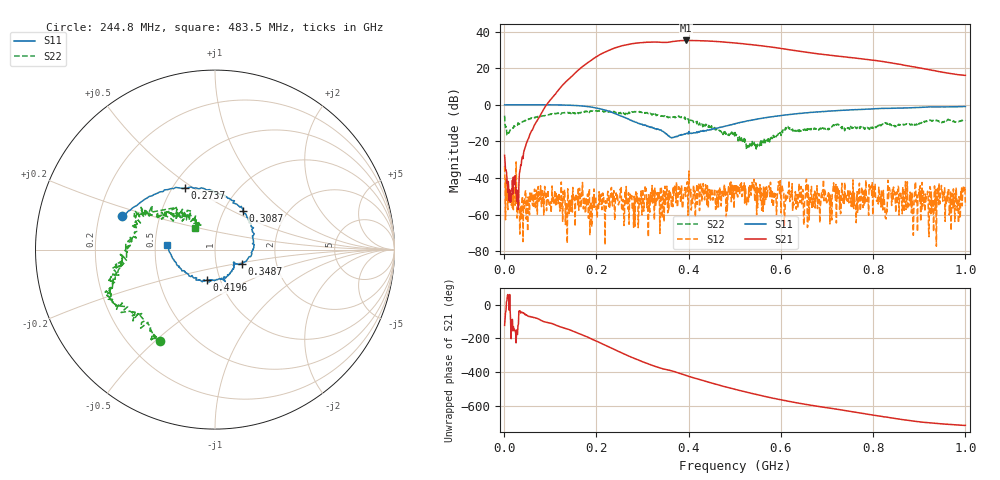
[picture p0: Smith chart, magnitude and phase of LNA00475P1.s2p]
! Created with skrf 1.9.0 (http://scikit-rf.org).
# Hz S RI R 50.0
!freq ReS11 ImS11 ReS21 ImS21 ReS12 ImS12 ReS22 ImS22
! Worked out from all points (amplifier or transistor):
!   1001 points, 1 MHz to 1 GHz, reference 50 ohm
!   highest |S21| = 35.2 dB at 394.6 MHz (marker M1)
!   |S21| within 3 dB of that: 254.5 MHz to 560.5 MHz (306.1 MHz wide, 75.1 % of centre)
!   unconditionally stable (mu >= 1): 175.1 MHz to 194.5 MHz; 251.8 MHz to 400.3 MHz; 400.9 MHz to end of sweep (the widest 3 of 40)
!   at 166.8 MHz: K = 2.19, MAG = 32.0 dB, |S12| = -56.1 dB
!   at 500.5 MHz: K = 1.63, MAG = 34.4 dB, |S12| = -44.2 dB
!   at 1 GHz: K = 6.92, MAG = 24.1 dB, |S12| = -55.0 dB
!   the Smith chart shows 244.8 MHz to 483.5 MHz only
!   S11 on the Smith chart (normalised r, x): 244.8 MHz: 0.30, +0.16; 273.7 MHz: 0.58, +0.46; 308.7 MHz: 1.23, +0.56; 348.7 MHz: 1.34, -0.22; 419.6 MHz: 0.86, -0.30; 483.5 MHz: 0.58, +0.03
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1000000  0.9984 0.00599  -0.0226 -0.035  -0.0169 0.0123  0.3453 0.3641
1.08892e8  0.5137 -0.8547  -0.8603 -1.63  0.000309 0.00274  0.4462 -0.3651
1.67833e8  -0.2488 -0.8963  -10.59 -0.5119  -0.00436 0.00104  0.0627 -0.6066
2.09791e8  -0.6743 -0.3612  -16.22 18.03  0.00305 -0.00104  -0.182 -0.6458
2.26774e8  -0.6635 -0.0743  -10.38 28.86  0.00091 0.00142  -0.2518 -0.5826
2.44756e8  -0.5155 0.1849  2.001 37.57  0.00286 0.00242  -0.3066 -0.5119
2.73727e8  -0.1689 0.3433  28.69 35.64  -0.00297 -0.00155  -0.5292 -0.3106
3.08692e8  0.1561 0.2131  49.88 11.57  -0.00344 -0.000889  -0.5791 -0.176
3.34666e8  0.2122 -0.00085  50.39 -10.71  0.000854 0.00236  -0.5163 -0.0546
3.48652e8  0.1518 -0.0801  46.78 -19.36  0.00227 0.00551  -0.4975 -0.00356
3.72628e8  0.1066 -0.0836  42.99 -34.83  -0.000224 0.00209  -0.4265 0.1612
3.94606e8  0.066 -0.15  29.46 -49.16  0.0025 0.00464  -0.3912 0.2182
4.19581e8  -0.0455 -0.1699  9.713 -55.87  0.00376 0.000534  -0.269 0.1855
4.49551e8  -0.1738 -0.1173  -12.99 -53.02  0.00514 0.000107  -0.1548 0.2187
4.83517e8  -0.2672 0.0278  -32.31 -39.9  0.00125 -7.68e-05  -0.1106 0.1187
5.005e8  -0.2762 0.1132  -38.19 -31.23  -0.00613 0.000251  -0.102 0.142
5.39461e8  -0.2198 0.3205  -42.37 -10.18  0.00568 -0.00107  -0.0839 0.0302
5.85415e8  -0.0477 0.4795  -35.79 9.194  0.00307 -0.00232  -0.1347 -0.0324
6.67333e8  0.3241 0.5291  -14.54 21.44  0.00041 -0.00137  -0.2187 0.0229
7.61239e8  0.6491 0.3556  1.773 18.95  -0.00107 0.00162  -0.2263 0.0855
8.34166e8  0.7856 0.1506  8.665 11.38  -0.00279 -0.00314  -0.2851 0.0767
1e9  0.8191 -0.3734  6.338 0.6512  -0.000699 0.00164  -0.1474 0.3396
